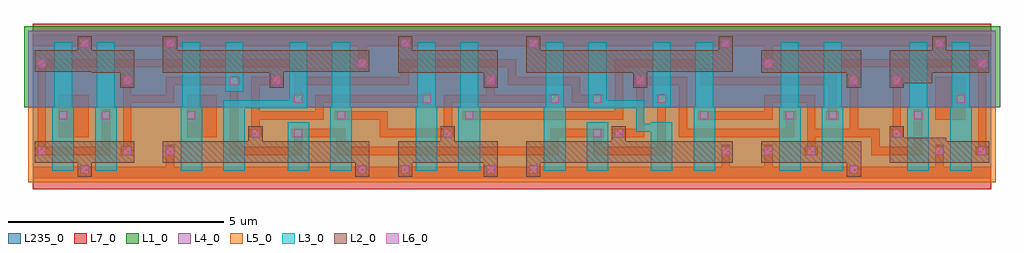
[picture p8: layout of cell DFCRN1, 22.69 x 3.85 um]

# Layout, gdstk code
import gdstk
lib = gdstk.Library(unit=1e-6, precision=1e-09)
def R(c, l, rs):  # rectangles x0, y0, x1, y1
    for r in rs: c.add(gdstk.rectangle(r[:2], r[2:], *l))
def A(c, l, x, y, w, h, nx, ny, dx, dy):  # array of equal rectangles
    R(c, l, [(x+i*dx, y+j*dy, x+i*dx+w, y+j*dy+h) for i in range(nx) for j in range(ny)])
def P(c, l, *ps):  # polygons
    for p in ps: c.add(gdstk.Polygon(p, *l))
L1_0 = (1, 0)
L2_0 = (2, 0)
L3_0 = (3, 0)
L4_0 = (4, 0)
L5_0 = (5, 0)
L6_0 = (6, 0)
L7_0 = (7, 0)
L235_0 = (235, 0)

dfcrn1 = lib.new_cell('DFCRN1')
R(dfcrn1, L1_0, [(-0.2,1.653,22.494,3.532)])
P(dfcrn1, L2_0, [(1.044,0.036),(1.044,0.363),(0.05,0.363),(0.05,0.863),(2.364,0.863),(2.364,0.363),(1.37,0.363),(1.37,0.036)],
  [(18.936,0.036),(18.936,0.363),(16.948,0.363),(16.948,0.863),(19.262,0.863),(19.262,0.036)],
  [(7.505,0.036),(7.505,0.363),(3.032,0.363),(3.032,0.863),(5.02,0.863),(5.02,1.209),(5.346,1.209),(5.346,0.863),(7.831,0.863),(7.831,0.036)],
  [(8.499,0.036),(8.499,0.863),(9.493,0.863),(9.493,1.209),(9.819,1.209),(9.819,0.863),(10.813,0.863),(10.813,0.036),(10.487,0.036),(10.487,0.363),(8.825,0.363),(8.825,0.036)],
  [(11.481,0.036),(11.481,0.863),(13.469,0.863),(13.469,1.209),(13.795,1.209),(13.795,0.863),(16.28,0.863),(16.28,0.363),(11.807,0.363),(11.807,0.036)],
  [(19.93,0.363),(19.93,1.209),(20.256,1.209),(20.256,0.943),(21.25,0.943),(21.25,0.863),(22.244,0.863),(22.244,0.363)],
  [(18.936,2.097),(18.936,2.449),(16.948,2.449),(16.948,2.969),(19.262,2.969),(19.262,2.097)],
  [(2.038,2.097),(2.038,2.449),(1.37,2.449),(1.37,2.469),(0.05,2.469),(0.05,2.969),(1.044,2.969),(1.044,3.296),(1.37,3.296),(1.37,2.969),(2.364,2.969),(2.364,2.097)],
  [(5.517,2.097),(5.517,2.449),(3.032,2.449),(3.032,3.296),(3.358,3.296),(3.358,2.969),(7.831,2.969),(7.831,2.469),(5.843,2.469),(5.843,2.097)],
  [(10.487,2.097),(10.487,2.449),(8.499,2.449),(8.499,3.296),(8.825,3.296),(8.825,2.969),(10.813,2.969),(10.813,2.097)],
  [(13.966,2.097),(13.966,2.449),(11.481,2.449),(11.481,3.296),(11.807,3.296),(11.807,2.969),(15.954,2.969),(15.954,3.296),(16.28,3.296),(16.28,2.469),(14.292,2.469),(14.292,2.097)],
  [(19.93,2.097),(19.93,2.969),(20.924,2.969),(20.924,3.296),(21.25,3.296),(21.25,2.969),(22.244,2.969),(22.244,2.449),(20.924,2.449),(20.924,2.209),(20.256,2.209),(20.256,2.097)])
R(dfcrn1, L3_0, [(5.927,0.177,6.427,1.296), (12.885,0.177,13.385,1.296), (14.416,1.637,14.836,3.155), (4.476,2.01,4.896,3.155)])
P(dfcrn1, L3_0, [(0.46,0.177),(0.46,1.653),(0.5,1.653),(0.5,3.155),(0.92,3.155),(0.92,1.653),(0.96,1.653),(0.96,0.177)],
  [(1.454,0.177),(1.454,1.653),(1.494,1.653),(1.494,3.155),(1.914,3.155),(1.914,1.653),(1.954,1.653),(1.954,0.177)],
  [(3.442,0.177),(3.442,1.653),(3.482,1.653),(3.482,3.155),(3.902,3.155),(3.902,1.653),(3.942,1.653),(3.942,0.177)],
  [(4.436,0.177),(4.436,1.809),(5.967,1.809),(5.967,3.155),(6.387,3.155),(6.387,1.629),(4.936,1.629),(4.936,0.177)],
  [(6.921,0.177),(6.921,1.653),(6.961,1.653),(6.961,3.155),(7.381,3.155),(7.381,1.653),(7.421,1.653),(7.421,0.177)],
  [(8.909,0.177),(8.909,1.653),(8.949,1.653),(8.949,3.155),(9.369,3.155),(9.369,1.653),(9.409,1.653),(9.409,0.177)],
  [(9.903,0.177),(9.903,1.653),(9.943,1.653),(9.943,3.155),(10.363,3.155),(10.363,1.653),(10.403,1.653),(10.403,0.177)],
  [(11.891,0.177),(11.891,1.653),(11.931,1.653),(11.931,3.155),(12.351,3.155),(12.351,1.653),(12.391,1.653),(12.391,0.177)],
  [(14.376,0.177),(14.376,1.084),(14.039,1.084),(14.039,1.629),(12.925,1.629),(12.925,3.155),(13.345,3.155),(13.345,1.809),(14.219,1.809),(14.219,1.264),(14.376,1.264),(14.376,1.296),(14.876,1.296),(14.876,0.177)],
  [(15.37,0.177),(15.37,1.653),(15.41,1.653),(15.41,3.155),(15.83,3.155),(15.83,1.653),(15.87,1.653),(15.87,0.177)],
  [(17.358,0.177),(17.358,1.653),(17.398,1.653),(17.398,3.155),(17.818,3.155),(17.818,1.653),(17.858,1.653),(17.858,0.177)],
  [(18.352,0.177),(18.352,1.653),(18.392,1.653),(18.392,3.155),(18.812,3.155),(18.812,1.653),(18.852,1.653),(18.852,0.177)],
  [(20.34,0.177),(20.34,1.653),(20.38,1.653),(20.38,3.155),(20.8,3.155),(20.8,1.653),(20.84,1.653),(20.84,0.177)],
  [(21.334,0.177),(21.334,1.653),(21.374,1.653),(21.374,3.155),(21.794,3.155),(21.794,1.653),(21.834,1.653),(21.834,0.177)])
R(dfcrn1, L4_0, [(-0.1,1.653,22.394,3.432)])
R(dfcrn1, L5_0, [(-0.1,-0.1,22.394,1.653)])
A(dfcrn1, L6_0, 16.024, 0.54, 0.186, 0.186, 3, 1, 0.994, 0)
A(dfcrn1, L6_0, 6.084, 0.953, 0.186, 0.186, 3, 1, 3.479, 0)
A(dfcrn1, L6_0, 6.084, 1.754, 0.186, 0.186, 3, 1, 2.982, 0)
R(dfcrn1, L6_0, [(1.114,0.106,1.3,0.292), (7.575,0.106,7.761,0.292), (8.569,0.106,8.755,0.292), (10.557,0.106,10.743,0.292), (11.551,0.106,11.737,0.292), (19.006,0.106,19.192,0.292), (0.12,0.54,0.306,0.726), (2.108,0.54,2.294,0.726), (3.102,0.54,3.288,0.726), (20.994,0.54,21.18,0.726), (21.988,0.54,22.174,0.726), (5.09,0.953,5.276,1.139), (13.539,0.953,13.725,1.139), (20,0.953,20.186,1.139), (0.617,1.366,0.803,1.552), (1.611,1.366,1.797,1.552), (3.599,1.366,3.785,1.552), (7.078,1.366,7.264,1.552), (10.06,1.366,10.246,1.552), (15.527,1.366,15.713,1.552), (17.515,1.366,17.701,1.552), (18.509,1.366,18.695,1.552), (20.497,1.366,20.683,1.552), (13.042,1.754,13.228,1.94), (14.533,1.754,14.719,1.94), (21.491,1.754,21.677,1.94), (2.108,2.167,2.294,2.353), (4.593,2.167,4.779,2.353), (5.587,2.167,5.773,2.353), (10.557,2.167,10.743,2.353), (14.036,2.167,14.222,2.353), (19.006,2.167,19.192,2.353), (20,2.167,20.186,2.353), (0.12,2.58,0.306,2.766), (7.575,2.58,7.761,2.766), (17.018,2.58,17.204,2.766), (21.988,2.58,22.174,2.766), (1.114,3.04,1.3,3.226), (3.102,3.04,3.288,3.226), (8.569,3.04,8.755,3.226), (11.551,3.04,11.737,3.226), (16.024,3.04,16.21,3.226), (20.994,3.04,21.18,3.226)])
R(dfcrn1, L7_0, [(0.613,0.949,1.304,1.944), (3.595,0.949,4.286,1.944), (20.99,1.362,21.681,2.357)])
P(dfcrn1, L7_0, [(0,-0.26),(0,0.26),(1.11,0.26),(1.11,0.296),(1.304,0.296),(1.304,0.26),(3.098,0.26),(3.098,0.776),(3.292,0.776),(3.292,0.26),(7.571,0.26),(7.571,0.296),(7.765,0.296),(7.765,0.26),(8.565,0.26),(8.565,0.296),(8.759,0.296),(8.759,0.26),(10.553,0.26),(10.553,0.296),(10.747,0.296),(10.747,0.26),(11.547,0.26),(11.547,0.296),(11.741,0.296),(11.741,0.26),(16.02,0.26),(16.02,0.776),(16.214,0.776),(16.214,0.26),(17.014,0.26),(17.014,0.776),(17.208,0.776),(17.208,0.26),(19.002,0.26),(19.002,0.296),(19.196,0.296),(19.196,0.26),(20.99,0.26),(20.99,0.776),(21.184,0.776),(21.184,0.26),(22.294,0.26),(22.294,-0.26)],
  [(2.054,0.536),(2.054,0.73),(2.104,0.73),(2.104,2.163),(2.054,2.163),(2.054,2.357),(2.348,2.357),(2.348,2.163),(2.298,2.163),(2.298,1.944),(3.098,1.944),(3.098,2.357),(4.833,2.357),(4.833,2.163),(4.783,2.163),(4.783,0.73),(6.08,0.73),(6.08,0.949),(6.03,0.949),(6.03,1.143),(7.268,1.143),(7.268,0.73),(12.044,0.73),(12.044,1.143),(13.282,1.143),(13.282,0.949),(13.232,0.949),(13.232,0.73),(14.529,0.73),(14.529,1.75),(14.479,1.75),(14.479,1.944),(14.773,1.944),(14.773,1.75),(14.723,1.75),(14.723,0.536),(13.038,0.536),(13.038,0.949),(12.238,0.949),(12.238,0.536),(7.074,0.536),(7.074,0.949),(6.274,0.949),(6.274,0.536),(4.589,0.536),(4.589,2.163),(3.292,2.163),(3.292,1.75),(2.298,1.75),(2.298,0.73),(2.348,0.73),(2.348,0.536)],
  [(5.036,0.949),(5.036,1.143),(5.086,1.143),(5.086,2.357),(5.827,2.357),(5.827,2.163),(5.28,2.163),(5.28,1.556),(6.577,1.556),(6.577,1.944),(9.062,1.944),(9.062,1.994),(9.256,1.994),(9.256,1.7),(9.062,1.7),(9.062,1.75),(6.771,1.75),(6.771,1.362),(5.28,1.362),(5.28,1.143),(5.33,1.143),(5.33,0.949)],
  [(8.068,0.949),(8.068,1.362),(7.024,1.362),(7.024,1.556),(8.262,1.556),(8.262,1.143),(9.559,1.143),(9.559,1.944),(10.553,1.944),(10.553,2.163),(10.503,2.163),(10.503,2.357),(10.797,2.357),(10.797,2.163),(10.747,2.163),(10.747,1.944),(12.288,1.944),(12.288,1.75),(9.753,1.75),(9.753,1.143),(9.803,1.143),(9.803,0.949)],
  [(13.485,0.949),(13.485,1.143),(14.032,1.143),(14.032,2.163),(13.982,2.163),(13.982,2.357),(15.22,2.357),(15.22,1.143),(17.511,1.143),(17.511,1.362),(17.461,1.362),(17.461,1.556),(17.755,1.556),(17.755,1.362),(17.705,1.362),(17.705,0.949),(15.026,0.949),(15.026,2.163),(14.226,2.163),(14.226,0.949)],
  [(17.958,0.536),(17.958,0.73),(18.008,0.73),(18.008,1.75),(17.208,1.75),(17.208,1.362),(15.473,1.362),(15.473,1.556),(17.014,1.556),(17.014,1.944),(18.202,1.944),(18.202,1.143),(19.002,1.143),(19.002,2.163),(18.952,2.163),(18.952,2.357),(19.246,2.357),(19.246,2.163),(19.196,2.163),(19.196,1.143),(19.693,1.143),(19.693,0.73),(20.493,0.73),(20.493,1.606),(20.687,1.606),(20.687,0.536),(19.499,0.536),(19.499,0.949),(18.202,0.949),(18.202,0.73),(18.252,0.73),(18.252,0.536)],
  [(19.946,0.949),(19.946,1.143),(19.996,1.143),(19.996,2.163),(19.946,2.163),(19.946,2.357),(20.24,2.357),(20.24,2.163),(20.19,2.163),(20.19,1.143),(20.24,1.143),(20.24,0.949)],
  [(0.066,0.536),(0.066,0.73),(0.116,0.73),(0.116,2.576),(0.066,2.576),(0.066,2.77),(6.274,2.77),(6.274,2.357),(8.565,2.357),(8.565,2.77),(11.244,2.77),(11.244,2.357),(12.735,2.357),(12.735,1.944),(13.282,1.944),(13.282,1.75),(12.541,1.75),(12.541,2.163),(11.05,2.163),(11.05,2.576),(8.759,2.576),(8.759,2.163),(6.274,2.163),(6.274,1.944),(6.324,1.944),(6.324,1.75),(6.03,1.75),(6.03,1.944),(6.08,1.944),(6.08,2.576),(0.31,2.576),(0.31,0.73),(1.607,0.73),(1.607,1.606),(1.801,1.606),(1.801,0.536)],
  [(21.934,0.536),(21.934,0.73),(21.984,0.73),(21.984,2.576),(18.699,2.576),(18.699,1.556),(18.749,1.556),(18.749,1.362),(18.455,1.362),(18.455,1.556),(18.505,1.556),(18.505,2.163),(15.523,2.163),(15.523,2.576),(13.729,2.576),(13.729,1.362),(10.006,1.362),(10.006,1.556),(13.535,1.556),(13.535,2.77),(15.717,2.77),(15.717,2.357),(18.505,2.357),(18.505,2.77),(22.228,2.77),(22.228,2.576),(22.178,2.576),(22.178,0.73),(22.228,0.73),(22.228,0.536)],
  [(7.571,2.53),(7.571,3.072),(3.292,3.072),(3.292,3.036),(3.098,3.036),(3.098,3.072),(1.304,3.072),(1.304,3.036),(1.11,3.036),(1.11,3.072),(0,3.072),(0,3.592),(22.294,3.592),(22.294,3.072),(21.184,3.072),(21.184,3.036),(20.99,3.036),(20.99,3.072),(17.208,3.072),(17.208,2.53),(17.014,2.53),(17.014,3.072),(16.214,3.072),(16.214,3.036),(16.02,3.036),(16.02,3.072),(11.741,3.072),(11.741,3.036),(11.547,3.036),(11.547,3.072),(8.759,3.072),(8.759,3.036),(8.565,3.036),(8.565,3.072),(7.765,3.072),(7.765,2.53)])
R(dfcrn1, L235_0, [(0,0,22.294,3.332)])

lib.write_gds('DFCRN1.gds')
